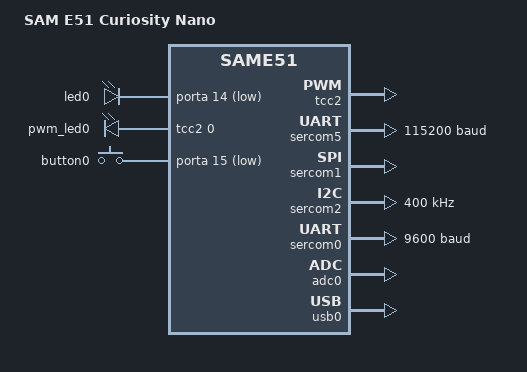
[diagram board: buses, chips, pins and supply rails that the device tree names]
/*
 * Copyright (c) 2019 Benjamin Valentin
 * Copyright (c) 2023 Sebastian Schlupp
 * SPDX-License-Identifier: Apache-2.0
 */

/dts-v1/;
#include <atmel/same5xx20.dtsi>
#include "atsame51_cnano-pinctrl.dtsi"
#include <zephyr/dt-bindings/input/input-event-codes.h>
/*#include <zephyr/devicetree/can.h>*/

/ {
	model = "SAM E51 Curiosity Nano";
	compatible = "atsame51,cnano", "atmel,same51j20a", "atmel,same51";

	chosen {
		zephyr,console = &sercom5;
		zephyr,shell-uart = &sercom5;
		zephyr,sram = &sram0;
		zephyr,flash = &flash0;
		/*zephyr,canbus = &can1;*/
	};

	/* These aliases are provided for compatibility with samples */
	aliases {
		led0 = &led0;
		pwm-led0 = &pwm_led0;
		sw0 = &button0;
		i2c-0 = &sercom2;
		/*can-1 = &can1;*/
	};

	leds {
		compatible = "gpio-leds";
		led0: led_0 {
			gpios = <&porta 14 GPIO_ACTIVE_LOW>;
			/*Usage of labels is actively discouraged for new implementations*/
			/*label = "Yellow LED";*/
		};
	};

	pwmleds {
		compatible = "pwm-leds";
		pwm_led0: pwm_led_0 {
			pwms = <&tcc2 0 PWM_MSEC(20)>;
		};
	};

	buttons {
		compatible = "gpio-keys";
		button0: button_0 {
			gpios = <&porta 15 (GPIO_PULL_UP | GPIO_ACTIVE_LOW)>;
			/*Usage of labels is actively discouraged for new implementations*/
			/*label = "SW0";*/
			zephyr,code = <INPUT_KEY_0>;
		};
	};
};

/*CAN controller is included on the board but transceiver isn't*/
/*
*&can1{
*	status = "okay";
*	
*	bus-speed = <250000>;
*	bus-speed-data = <250000>;
*
*	pinctrl-0 = <&can1_default>;
*	pinctrl-names = "default";
*	
*	can-transceiver {
*		max-bitrate = <5000000>;
*	};
*};
*/

&tcc2 {
	status = "okay";
	compatible = "atmel,sam0-tcc-pwm";
	/* Gives a maximum period of 1.1s for 120MHz main clock */
	prescaler = <8>;
	#pwm-cells = <2>;

	pinctrl-0 = <&pwm_default>;
	pinctrl-names = "default";
};

&sercom5 {
	status = "okay";
	compatible = "atmel,sam0-uart";
	current-speed = <115200>;
	rxpo = <1>;
	txpo = <0>;
	#address-cells = <1>;
	#size-cells = <0>;

	pinctrl-0 = <&sercom5_uart_default>;
	pinctrl-names = "default";
};

&sercom1 {
	status = "okay";
	compatible = "atmel,sam0-spi";
	dipo = <3>;
	dopo = <0>;
	#address-cells = <1>;
	#size-cells = <0>;

	pinctrl-0 = <&sercom1_spi_default>;
	pinctrl-names = "default";
};

&sercom2 {
	status = "okay";
	compatible = "atmel,sam0-i2c";
	clock-frequency = <I2C_BITRATE_FAST>;
	#address-cells = <1>;
	#size-cells = <0>;

	pinctrl-0 = <&sercom2_i2c_default>;
	pinctrl-names = "default";
};

&sercom0 {
	status = "okay";
	compatible = "atmel,sam0-uart";
	current-speed = <9600>;
	rxpo = <1>;
	txpo = <0>;
	#address-cells = <1>;
	#size-cells = <0>;

	pinctrl-0 = <&sercom0_uart_default>;
	pinctrl-names = "default";
};

&adc0 {
	status = "okay";

	pinctrl-0 = <&adc0_default>;
	pinctrl-names = "default";
};

zephyr_udc0: &usb0 {
	status = "okay";

	pinctrl-0 = <&usb_dc_default>;
	pinctrl-names = "default";
};

&flash0 {
	partitions {
		compatible = "fixed-partitions";
		#address-cells = <1>;
		#size-cells = <1>;

		/*
		 * The final 16 KiB is reserved for the application.
		 * Storage partition will be used by FCB/LittleFS/NVS
		 * if enabled.
		 */
		storage_partition: partition@fc000 {
			label = "storage";
			reg = <0x000fc000 0x00004000>;
		};
	};
};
